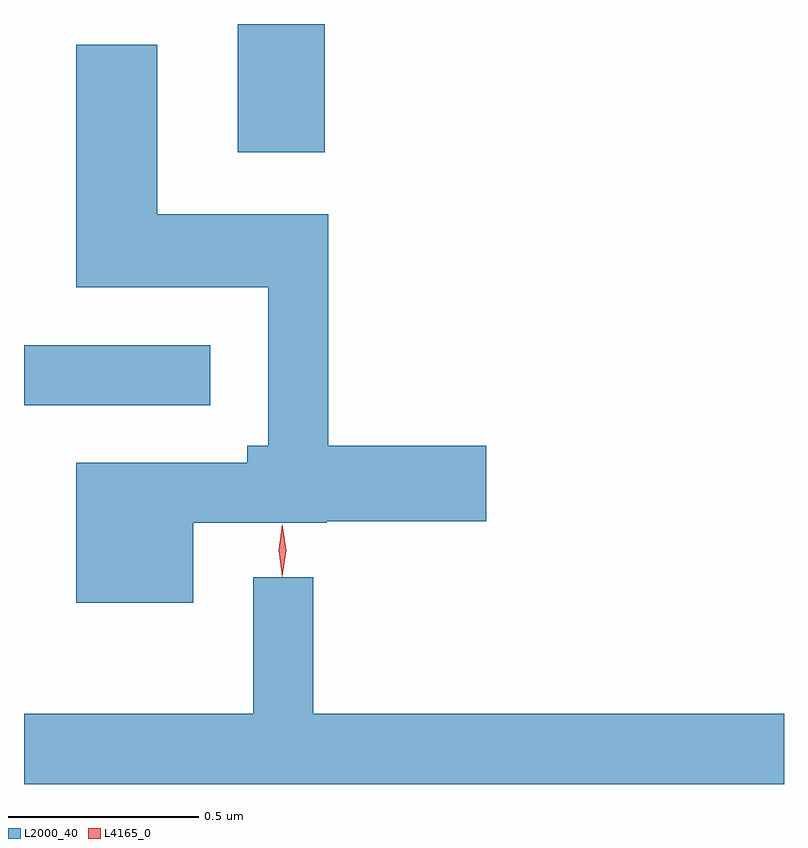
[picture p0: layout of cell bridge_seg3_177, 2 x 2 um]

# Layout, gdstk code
import gdstk
lib = gdstk.Library(unit=1e-6, precision=1e-09)
def R(c, l, rs):  # rectangles x0, y0, x1, y1
    for r in rs: c.add(gdstk.rectangle(r[:2], r[2:], *l))
def P(c, l, *ps):  # polygons
    for p in ps: c.add(gdstk.Polygon(p, *l))
L2000_40 = (2000, 40)
L4165_0 = (4165, 0)

bridge_seg3_177 = lib.new_cell('bridge_seg3_177')
R(bridge_seg3_177, L2000_40, [(724.538,1198.136,725.028,1198.294), (725.101,1198.801,725.329,1199.139)])
P(bridge_seg3_177, L2000_40, [(724.984,1197.826),(725.335,1197.826),(725.335,1197.831),(725.754,1197.831),(725.754,1198.029),(725.339,1198.029),(725.339,1198.639),(724.889,1198.639),(724.889,1199.084),(724.676,1199.084),(724.676,1198.446),(725.181,1198.446),(725.181,1198.029),(725.126,1198.029),(725.126,1197.984),(724.676,1197.984),(724.676,1197.616),(724.984,1197.616)],
  [(726.538,1197.324),(725.299,1197.324),(725.299,1197.683),(725.141,1197.683),(725.141,1197.324),(724.538,1197.324),(724.538,1197.139),(726.538,1197.139)])
P(bridge_seg3_177, L4165_0, [(725.217,1197.685),(725.208,1197.754),(725.217,1197.823),(725.218,1197.823),(725.218,1197.823),(725.228,1197.754),(725.218,1197.685),(725.218,1197.685)],
  [(725.218,1197.688),(725.217,1197.689),(725.208,1197.754),(725.217,1197.82),(725.218,1197.821),(725.218,1197.82),(725.228,1197.754),(725.218,1197.689)])

lib.write_gds('bridge_seg3_177.gds')
